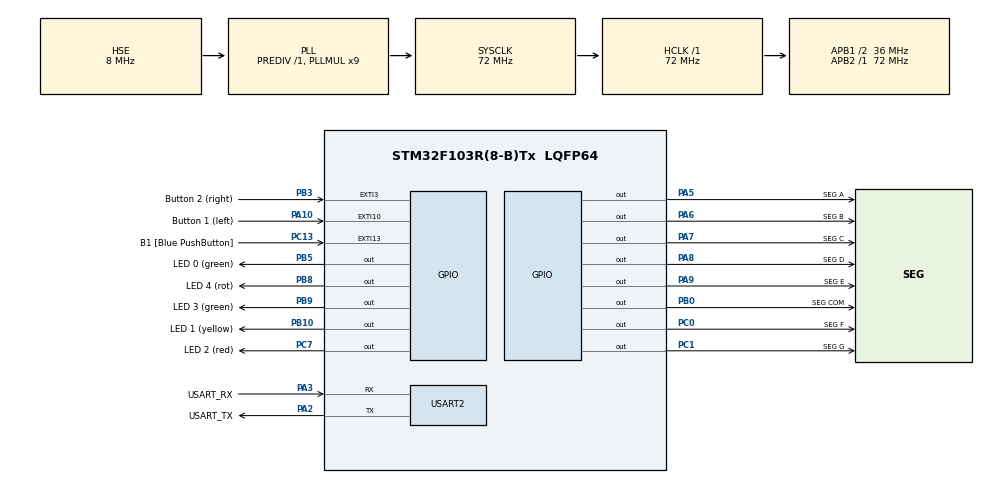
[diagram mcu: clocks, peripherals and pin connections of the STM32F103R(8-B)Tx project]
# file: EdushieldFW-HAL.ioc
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Mcu.Family=STM32F1
Mcu.Name=STM32F103R(8-B)Tx
Mcu.Package=LQFP64
NVIC.EXTI15_10_IRQn=true\:0\:0\:false\:false\:true\:true\:true\:true
NVIC.EXTI3_IRQn=true\:0\:0\:false\:false\:true\:true\:true\:true
NVIC.PriorityGroup=NVIC_PRIORITYGROUP_4
NVIC.TIM2_IRQn=true\:0\:0\:false\:false\:true\:true\:true\:true
NVIC.TIM3_IRQn=true\:0\:0\:false\:false\:true\:true\:true\:true
PA10.GPIO_Label=Button 1 (left)
PA10.GPIO_ModeDefaultEXTI=GPIO_MODE_IT_RISING
PA10.GPIO_PuPd=GPIO_PULLUP
PA10.Signal=GPXTI10
PA13.GPIO_Label=TMS
PA13.Mode=Serial_Wire
PA13.Signal=SYS_JTMS-SWDIO
PA14.GPIO_Label=TCK
PA14.Mode=Serial_Wire
PA14.Signal=SYS_JTCK-SWCLK
PA2.GPIO_Label=USART_TX
PA2.GPIO_Mode=GPIO_MODE_AF_PP
PA2.GPIO_PuPd=GPIO_NOPULL
PA2.GPIO_Speed=GPIO_SPEED_FREQ_LOW
PA2.Mode=Asynchronous
PA2.Signal=USART2_TX
PA3.GPIO_Label=USART_RX
PA3.GPIO_Mode=GPIO_MODE_AF_PP
PA3.GPIO_PuPd=GPIO_NOPULL
PA3.GPIO_Speed=GPIO_SPEED_FREQ_LOW
PA3.Mode=Asynchronous
PA3.Signal=USART2_RX
PA5.GPIO_Label=SEG A
PA5.GPIO_ModeDefaultOutputPP=GPIO_MODE_OUTPUT_PP
PA5.GPIO_PuPd=GPIO_NOPULL
PA5.GPIO_Speed=GPIO_SPEED_FREQ_LOW
PA5.Signal=GPIO_Output
PA6.GPIO_Label=SEG B
PA6.Signal=GPIO_Output
PA7.GPIO_Label=SEG C
PA7.Signal=GPIO_Output
PA8.GPIO_Label=SEG D
PA8.Signal=GPIO_Output
PA9.GPIO_Label=SEG E
PA9.GPIO_ModeDefaultOutputPP=GPIO_MODE_OUTPUT_PP
PA9.Signal=GPIO_Output
PB0.GPIO_Label=SEG COM
PB0.Signal=GPIO_Output
PB10.GPIO_Label=LED 1 (yellow)
PB10.Signal=GPIO_Output
PB3.GPIO_Label=Button 2 (right)
PB3.GPIO_ModeDefaultEXTI=GPIO_MODE_IT_RISING
PB3.GPIO_PuPd=GPIO_PULLUP
PB3.Signal=GPXTI3
PB5.GPIO_Label=LED 0 (green)
PB5.Signal=GPIO_Output
PB8.GPIO_Label=LED 4 (rot)
PB8.Signal=GPIO_Output
PB9.GPIO_Label=LED 3 (green)
PB9.Signal=GPIO_Output
PC0.GPIO_Label=SEG F
PC0.Signal=GPIO_Output
PC1.GPIO_Label=SEG G
PC1.Signal=GPIO_Output
PC13-TAMPER-RTC.GPIO_Label=B1 [Blue PushButton]
PC13-TAMPER-RTC.GPIO_PuPd=GPIO_NOPULL
PC13-TAMPER-RTC.Signal=GPXTI13
PC14-OSC32_IN.Mode=LSE-External-Oscillator
PC14-OSC32_IN.Signal=RCC_OSC32_IN
PC15-OSC32_OUT.Mode=LSE-External-Oscillator
PC15-OSC32_OUT.Signal=RCC_OSC32_OUT
PC7.GPIO_Label=LED 2 (red)
PC7.Signal=GPIO_Output
PD0-OSC_IN.Mode=HSE-External-Clock-Source
PD0-OSC_IN.Signal=RCC_OSC_IN
PD1-OSC_OUT.Mode=HSE-External-Clock-Source
PD1-OSC_OUT.Signal=RCC_OSC_OUT
ProjectManager.HeapSize=0x200
ProjectManager.StackSize=0x400
ProjectManager.TargetToolchain=STM32CubeIDE
RCC.AHBFreq_Value=72000000
RCC.APB1CLKDivider=RCC_HCLK_DIV2
RCC.APB1Freq_Value=36000000
RCC.APB1TimFreq_Value=72000000
RCC.APB2Freq_Value=72000000
RCC.APB2TimFreq_Value=72000000
RCC.HCLKFreq_Value=72000000
RCC.PLLMUL=RCC_PLL_MUL9
RCC.PLLSourceVirtual=RCC_PLLSOURCE_HSE
RCC.RTCClockSelection=RCC_RTCCLKSOURCE_LSE
RCC.SYSCLKFreq_VALUE=72000000
RCC.SYSCLKSource=RCC_SYSCLKSOURCE_PLLCLK
RCC.USBFreq_Value=72000000
TIM2.CounterMode=TIM_COUNTERMODE_DOWN
TIM2.Period=4999
TIM2.Prescaler=7199
TIM2.TIM_MasterOutputTrigger=TIM_TRGO_UPDATE
TIM3.Period=80
TIM3.Prescaler=7199
TIM3.TIM_MasterOutputTrigger=TIM_TRGO_UPDATE
USART2.VirtualMode=VM_ASYNC
VP_TIM2_VS_ClockSourceINT.Mode=Internal
VP_TIM3_VS_ClockSourceINT.Mode=Internal
board=NUCLEO-F103RB

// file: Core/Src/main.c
/* USER CODE BEGIN Header */
/**
  ******************************************************************************
  * @file           : main.c
  * @brief          : Main program body
  ******************************************************************************
  * @attention
  *
  * Copyright (c) 2024 STMicroelectronics.
  * All rights reserved.
  *
  * This software is licensed under terms that can be found in the LICENSE file
  * in the root directory of this software component.
  * If no LICENSE file comes with this software, it is provided AS-IS.
  *
  ******************************************************************************
  */
/* USER CODE END Header */
#include "main.h"

/* USER CODE BEGIN Includes */
#include "lookuptable.h"
/* USER CODE END Includes */

TIM_HandleTypeDef htim2;
TIM_HandleTypeDef htim3;

UART_HandleTypeDef huart2;

/* USER CODE BEGIN PV */
int8_t counter_right;
int8_t counter_left;
_Bool status;
/* USER CODE END PV */

void SystemClock_Config(void);
static void MX_GPIO_Init(void);
static void MX_USART2_UART_Init(void);
static void MX_TIM2_Init(void);
static void MX_TIM3_Init(void);

int main(void)
{

  /* MCU Configuration--------------------------------------------------------*/

  /* Reset of all peripherals, Initializes the Flash interface and the Systick. */
  HAL_Init();

  /* Configure the system clock */
  SystemClock_Config();

  /* Initialize all configured peripherals */
  MX_GPIO_Init();
  MX_USART2_UART_Init();
  MX_TIM2_Init();
  MX_TIM3_Init();
  /* USER CODE BEGIN 2 */
  HAL_TIM_Base_Start_IT(&htim2);
  HAL_TIM_Base_Start_IT(&htim3);
  /* USER CODE END 2 */

  /* Infinite loop */
  /* USER CODE BEGIN WHILE */
  counter_right = 0;
  counter_left = 0;
  seven_segment_right(counter_right);
  seven_segment_left(counter_left);

  while (1)
  {
    /* USER CODE END WHILE */

  }
}

void SystemClock_Config(void)
{
  RCC_OscInitTypeDef RCC_OscInitStruct = {0};
  RCC_ClkInitTypeDef RCC_ClkInitStruct = {0};

  /** Initializes the RCC Oscillators according to the specified parameters
  * in the RCC_OscInitTypeDef structure.
  */
  RCC_OscInitStruct.OscillatorType = RCC_OSCILLATORTYPE_HSE;
  RCC_OscInitStruct.HSEState = RCC_HSE_BYPASS;
  RCC_OscInitStruct.HSEPredivValue = RCC_HSE_PREDIV_DIV1;
  RCC_OscInitStruct.HSIState = RCC_HSI_ON;
  RCC_OscInitStruct.PLL.PLLState = RCC_PLL_ON;
  RCC_OscInitStruct.PLL.PLLSource = RCC_PLLSOURCE_HSE;
  RCC_OscInitStruct.PLL.PLLMUL = RCC_PLL_MUL9;
  if (HAL_RCC_OscConfig(&RCC_OscInitStruct) != HAL_OK)
  {
    Error_Handler();
  }

  /** Initializes the CPU, AHB and APB buses clocks
  */
  RCC_ClkInitStruct.ClockType = RCC_CLOCKTYPE_HCLK|RCC_CLOCKTYPE_SYSCLK
                              |RCC_CLOCKTYPE_PCLK1|RCC_CLOCKTYPE_PCLK2;
  RCC_ClkInitStruct.SYSCLKSource = RCC_SYSCLKSOURCE_PLLCLK;
  RCC_ClkInitStruct.AHBCLKDivider = RCC_SYSCLK_DIV1;
  RCC_ClkInitStruct.APB1CLKDivider = RCC_HCLK_DIV2;
  RCC_ClkInitStruct.APB2CLKDivider = RCC_HCLK_DIV1;

  if (HAL_RCC_ClockConfig(&RCC_ClkInitStruct, FLASH_LATENCY_2) != HAL_OK)
  {
    Error_Handler();
  }
}

static void MX_TIM2_Init(void)
{

  TIM_ClockConfigTypeDef sClockSourceConfig = {0};
  TIM_MasterConfigTypeDef sMasterConfig = {0};

  htim2.Instance = TIM2;
  htim2.Init.Prescaler = 7199;
  htim2.Init.CounterMode = TIM_COUNTERMODE_DOWN;
  htim2.Init.Period = 4999;
  htim2.Init.ClockDivision = TIM_CLOCKDIVISION_DIV1;
  htim2.Init.AutoReloadPreload = TIM_AUTORELOAD_PRELOAD_DISABLE;
  if (HAL_TIM_Base_Init(&htim2) != HAL_OK)
  {
    Error_Handler();
  }
  sClockSourceConfig.ClockSource = TIM_CLOCKSOURCE_INTERNAL;
  if (HAL_TIM_ConfigClockSource(&htim2, &sClockSourceConfig) != HAL_OK)
  {
    Error_Handler();
  }
  sMasterConfig.MasterOutputTrigger = TIM_TRGO_UPDATE;
  sMasterConfig.MasterSlaveMode = TIM_MASTERSLAVEMODE_DISABLE;
  if (HAL_TIMEx_MasterConfigSynchronization(&htim2, &sMasterConfig) != HAL_OK)
  {
    Error_Handler();
  }

}

static void MX_TIM3_Init(void)
{

  TIM_ClockConfigTypeDef sClockSourceConfig = {0};
  TIM_MasterConfigTypeDef sMasterConfig = {0};

  htim3.Instance = TIM3;
  htim3.Init.Prescaler = 7199;
  htim3.Init.CounterMode = TIM_COUNTERMODE_UP;
  htim3.Init.Period = 80;
  htim3.Init.ClockDivision = TIM_CLOCKDIVISION_DIV1;
  htim3.Init.AutoReloadPreload = TIM_AUTORELOAD_PRELOAD_DISABLE;
  if (HAL_TIM_Base_Init(&htim3) != HAL_OK)
  {
    Error_Handler();
  }
  sClockSourceConfig.ClockSource = TIM_CLOCKSOURCE_INTERNAL;
  if (HAL_TIM_ConfigClockSource(&htim3, &sClockSourceConfig) != HAL_OK)
  {
    Error_Handler();
  }
  sMasterConfig.MasterOutputTrigger = TIM_TRGO_UPDATE;
  sMasterConfig.MasterSlaveMode = TIM_MASTERSLAVEMODE_DISABLE;
  if (HAL_TIMEx_MasterConfigSynchronization(&htim3, &sMasterConfig) != HAL_OK)
  {
    Error_Handler();
  }

}

static void MX_USART2_UART_Init(void)
{

  huart2.Instance = USART2;
  huart2.Init.BaudRate = 115200;
  huart2.Init.WordLength = UART_WORDLENGTH_8B;
  huart2.Init.StopBits = UART_STOPBITS_1;
  huart2.Init.Parity = UART_PARITY_NONE;
  huart2.Init.Mode = UART_MODE_TX_RX;
  huart2.Init.HwFlowCtl = UART_HWCONTROL_NONE;
  huart2.Init.OverSampling = UART_OVERSAMPLING_16;
  if (HAL_UART_Init(&huart2) != HAL_OK)
  {
    Error_Handler();
  }

}

static void MX_GPIO_Init(void)
{
  GPIO_InitTypeDef GPIO_InitStruct = {0};

  /* GPIO Ports Clock Enable */
  __HAL_RCC_GPIOC_CLK_ENABLE();
  __HAL_RCC_GPIOD_CLK_ENABLE();
  __HAL_RCC_GPIOA_CLK_ENABLE();
  __HAL_RCC_GPIOB_CLK_ENABLE();

  /*Configure GPIO pin Output Level */
  HAL_GPIO_WritePin(GPIOC, SEG_F_Pin|SEG_G_Pin|LED_2_Pin, GPIO_PIN_RESET);

  /*Configure GPIO pin Output Level */
  HAL_GPIO_WritePin(GPIOA, SEG_A_Pin|SEG_B_Pin|SEG_C_Pin|SEG_D_Pin
                          |SEG_E_Pin, GPIO_PIN_RESET);

  /*Configure GPIO pin Output Level */
  HAL_GPIO_WritePin(GPIOB, SEG_COM_Pin|LED_1_Pin|LED_0_Pin|LED_4_Pin
                          |LED_3_Pin, GPIO_PIN_RESET);

  /*Configure GPIO pin : B1_Pin */
  GPIO_InitStruct.Pin = B1_Pin;
  GPIO_InitStruct.Mode = GPIO_MODE_IT_RISING;
  GPIO_InitStruct.Pull = GPIO_NOPULL;
  HAL_GPIO_Init(B1_GPIO_Port, &GPIO_InitStruct);

  /*Configure GPIO pins : SEG_F_Pin SEG_G_Pin LED_2_Pin */
  GPIO_InitStruct.Pin = SEG_F_Pin|SEG_G_Pin|LED_2_Pin;
  GPIO_InitStruct.Mode = GPIO_MODE_OUTPUT_PP;
  GPIO_InitStruct.Pull = GPIO_NOPULL;
  GPIO_InitStruct.Speed = GPIO_SPEED_FREQ_LOW;
  HAL_GPIO_Init(GPIOC, &GPIO_InitStruct);

  /*Configure GPIO pins : SEG_A_Pin SEG_B_Pin SEG_C_Pin SEG_D_Pin
                           SEG_E_Pin */
  GPIO_InitStruct.Pin = SEG_A_Pin|SEG_B_Pin|SEG_C_Pin|SEG_D_Pin
                          |SEG_E_Pin;
  GPIO_InitStruct.Mode = GPIO_MODE_OUTPUT_PP;
  GPIO_InitStruct.Pull = GPIO_NOPULL;
  GPIO_InitStruct.Speed = GPIO_SPEED_FREQ_LOW;
  HAL_GPIO_Init(GPIOA, &GPIO_InitStruct);

  /*Configure GPIO pins : SEG_COM_Pin LED_1_Pin LED_0_Pin LED_4_Pin
                           LED_3_Pin */
  GPIO_InitStruct.Pin = SEG_COM_Pin|LED_1_Pin|LED_0_Pin|LED_4_Pin
                          |LED_3_Pin;
  GPIO_InitStruct.Mode = GPIO_MODE_OUTPUT_PP;
  GPIO_InitStruct.Pull = GPIO_NOPULL;
  GPIO_InitStruct.Speed = GPIO_SPEED_FREQ_LOW;
  HAL_GPIO_Init(GPIOB, &GPIO_InitStruct);

  /*Configure GPIO pin : Button_1_Pin */
  GPIO_InitStruct.Pin = Button_1_Pin;
  GPIO_InitStruct.Mode = GPIO_MODE_IT_RISING;
  GPIO_InitStruct.Pull = GPIO_PULLUP;
  HAL_GPIO_Init(Button_1_GPIO_Port, &GPIO_InitStruct);

  /*Configure GPIO pin : Button_2_Pin */
  GPIO_InitStruct.Pin = Button_2_Pin;
  GPIO_InitStruct.Mode = GPIO_MODE_IT_RISING;
  GPIO_InitStruct.Pull = GPIO_PULLUP;
  HAL_GPIO_Init(Button_2_GPIO_Port, &GPIO_InitStruct);

  /* EXTI interrupt init*/
  HAL_NVIC_SetPriority(EXTI3_IRQn, 0, 0);
  HAL_NVIC_EnableIRQ(EXTI3_IRQn);

  HAL_NVIC_SetPriority(EXTI15_10_IRQn, 0, 0);
  HAL_NVIC_EnableIRQ(EXTI15_10_IRQn);

}

/* USER CODE BEGIN 4 */
void HAL_GPIO_EXTI_Callback(uint16_t GPIO_Pin)
{
	if(GPIO_Pin == Button_1_Pin)
	{
		++counter_left;
	}
	else if(GPIO_Pin == Button_2_Pin)
	{
		++counter_right;
	}
	else
	{
		__NOP();
	}
}

void HAL_TIM_PeriodElapsedCallback(TIM_HandleTypeDef* htim)
{
	if (htim == &htim2)
	{
		HAL_GPIO_TogglePin(LED_0_GPIO_Port, LED_0_Pin);
		HAL_GPIO_TogglePin(LED_1_GPIO_Port, LED_1_Pin);
		HAL_GPIO_TogglePin(LED_2_GPIO_Port, LED_2_Pin);
		HAL_GPIO_TogglePin(LED_3_GPIO_Port, LED_3_Pin);
		HAL_GPIO_TogglePin(LED_4_GPIO_Port, LED_4_Pin);
	}
	else if (htim == &htim3)
	{
		if(status == 1)
		{
		seven_segment_right(counter_right);
		//seven_segment_right(++counter);
		if(counter_right == 16)
			{
				counter_right = 0;
			}
		status = 0;
		}
		else
		{
		seven_segment_left(counter_left);
		//seven_segment_right(++counter);
		if(counter_left == 16)
			{
				counter_left = 0;
			}
		status = 1;
		}
	}
}

/* USER CODE END 4 */

void Error_Handler(void)
{
  __disable_irq();
  while (1)
  {
  }
}
